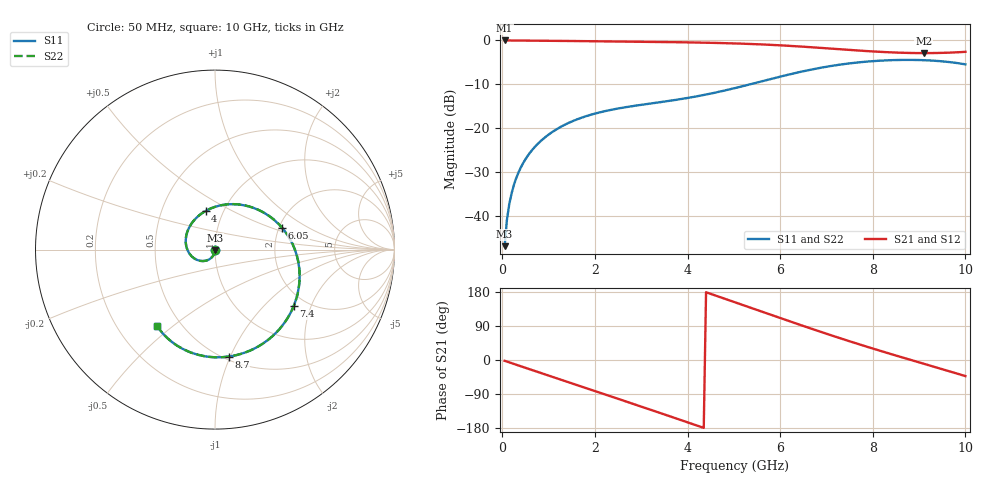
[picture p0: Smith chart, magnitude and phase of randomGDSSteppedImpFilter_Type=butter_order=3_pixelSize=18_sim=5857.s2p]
! freq	dB(S11)	phase(S11)	dB(S12)	phase(S12)
!  dB(S21)	phase(S21)	dB(S22)	phase(S22)
!S-par simulation data
#  GHz  S  DB  R 50
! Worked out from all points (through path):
!   200 points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, 50 MHz to 10 GHz, reference 50 ohm
!   highest |S21| = 0.00 dB at 50 MHz (marker M1); lowest = -2.9 dB at 9.1 GHz (marker M2)
!   group delay of S21, straight-line fit = 113 ps
!   lowest |S11| = -46.9 dB at 50 MHz (marker M3), VSWR 1.01, Z = 50 - j0.454 ohm
!   |S11| at or under -10 dB: start of sweep to 5.347 GHz
!   |S22| runs from -46.9 to -4.4 dB; largest |S21 - S12| = 0
!   S11 on the Smith chart (normalised r, x): 50 MHz: 1.00, -0.01; 4 GHz: 0.82, +0.37; 6.05 GHz: 2.08, +0.60; 7.4 GHz: 1.70, -1.52; 8.7 GHz: 0.53, -0.99; 10 GHz: 0.37, -0.44
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0.05  -46.85 -91.6  -0.00 -2.1  -0.00 -2.1  -46.85 -91.6
0.1  -40.84 -94.1  -0.01 -4.2  -0.01 -4.2  -40.84 -94.1
0.2  -34.85 -98.6  -0.02 -8.3  -0.02 -8.3  -34.85 -98.6
0.35  -30.06 -105.1  -0.03 -14.5  -0.03 -14.5  -30.06 -105.1
0.5  -27.05 -111.5  -0.04 -20.6  -0.04 -20.6  -27.05 -111.4
1  -21.44 -132.2  -0.08 -41.1  -0.08 -41.1  -21.44 -132.1
1.75  -17.45 -163.2  -0.16 -71.8  -0.16 -71.8  -17.45 -163.1
2.15  -16.26 -179.7  -0.20 -88.1  -0.20 -88.1  -16.26 -179.6
2.55  -15.40 163.8  -0.25 -104.5  -0.25 -104.5  -15.40 163.9
2.95  -14.74 147.3  -0.29 -120.9  -0.29 -120.9  -14.74 147.5
3.4  -14.07 128.8  -0.35 -139.5  -0.35 -139.5  -14.07 128.9
4  -13.10 103.8  -0.44 -164.4  -0.44 -164.4  -13.10 104.0
4.5  -12.10 82.8  -0.54 174.6  -0.54 174.6  -12.10 83.0
5.05  -10.78 59.7  -0.69 151.3  -0.69 151.3  -10.78 59.9
5.55  -9.45 38.8  -0.88 130.0  -0.88 130.0  -9.45 39.0
6.05  -8.12 18.1  -1.14 108.7  -1.14 108.7  -8.12 18.2
6.7  -6.58 -8.4  -1.56 81.5  -1.56 81.5  -6.58 -8.3
7.4  -5.35 -35.9  -2.09 53.3  -2.09 53.3  -5.35 -35.7
8.35  -4.51 -70.5  -2.70 17.3  -2.70 17.3  -4.51 -70.4
8.7  -4.43 -82.7  -2.83 4.5  -2.83 4.5  -4.43 -82.5
9.1  -4.49 -96.3  -2.89 -9.8  -2.89 -9.8  -4.49 -96.2
10  -5.45 -127.3  -2.59 -42.5  -2.59 -42.5  -5.45 -127.1
